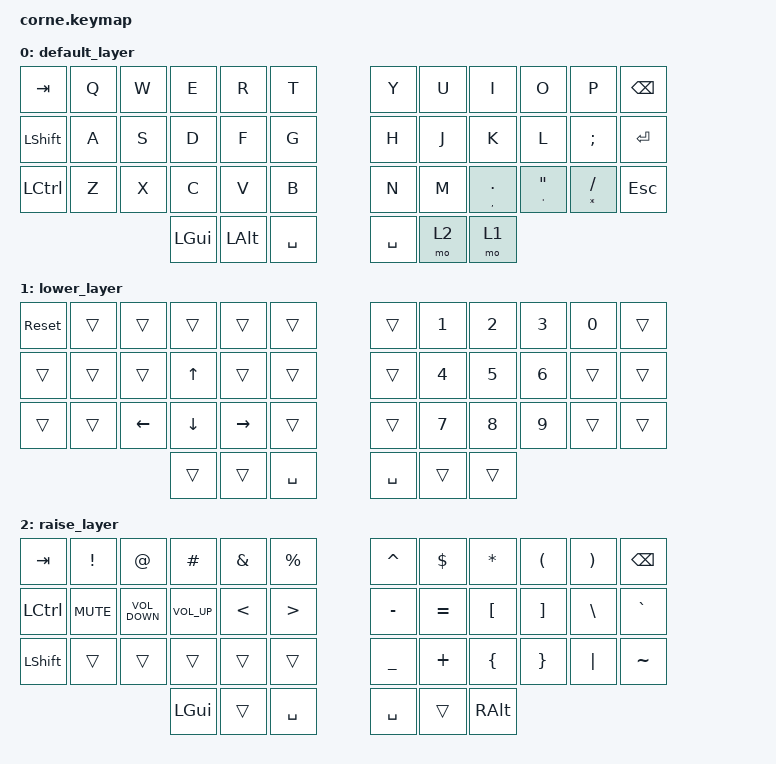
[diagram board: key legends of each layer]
/*
 * Copyright (c) 2020 The ZMK Contributors
 *
 * SPDX-License-Identifier: MIT
 */

#include <behaviors.dtsi>
#include <dt-bindings/zmk/keys.h>



/ {
    keymap {
        compatible = "zmk,keymap";

        default_layer {
            // -----------------------------------------------------------------------------------------
            // |  TAB |  1  |  W  |  E  |  R  |  T  |   |  Y  |  U   |  I  |  O  |  P  | BSPC |
            // | SHFT |  A  |  S  |  D  |  F  |  G  |   |  H  |  J   |  K  |  L  |  ;  | ENTR |
            // | CTRL |  Z  |  X  |  C  |  V  |  B  |   |  N  |  M   | ./, | '/" |  /* | EQU |
            //                    | GUI | LWR | SPC |   | SPC | L2   | L1  |

            bindings = <
&kp TAB         &kp Q  &kp W  &kp E     &kp R         &kp T        &kp Y      &kp U  &kp I          &kp O                  &kp P          &kp BSPC
&kp LEFT_SHIFT  &kp A  &kp S  &kp D     &kp F         &kp G        &kp H      &kp J  &kp K          &kp L                  &kp SEMI       &kp ENTER
&kp LCTRL       &kp Z  &kp X  &kp C     &kp V         &kp B        &kp N      &kp M  &mt COMMA DOT  &mt SQT DOUBLE_QUOTES  &mt STAR FSLH  &kp ESC
                              &kp LGUI  &kp LEFT_ALT  &kp SPACE    &kp SPACE  &mo 2  &mo 1
            >;
        };

        lower_layer {
            // -----------------------------------------------------------------------------------------
            // | SYSR |     |     |     |     |     |   |     |  1  |  2  |  3  |  0  |      |
            // |      |     |     | UP  |     |     |   |     |  4  |  5  |  6  |     |      |
            // |      |     | LFT | DWN | RGT |     |   |     |  7  |  8  |  9  |     |      |
            //                    |     |     | SPC |   | SPC |     |     |

            bindings = <
&sys_reset  &trans  &trans    &trans    &trans     &trans       &trans   &kp NUMBER_1  &kp NUMBER_2  &kp NUMBER_3  &kp N0  &trans
&trans      &trans  &trans    &kp UP    &trans     &trans       &trans   &kp NUMBER_4  &kp NUMBER_5  &kp NUMBER_6  &trans  &trans
&trans      &trans  &kp LEFT  &kp DOWN  &kp RIGHT  &trans       &trans   &kp NUMBER_7  &kp NUMBER_8  &kp NUMBER_9  &trans  &trans
                              &trans    &trans     &kp SPACE    &kp SPACE  &trans        &trans
            >;
        };

        raise_layer {
            // -----------------------------------------------------------------------------------------
            // |  TAB |  !  |  @  |  #  |  &  |  %  |   |  ^  |  $  |  *  |  (  |  )  | BSPC |
            // | CTRL |MUTE |V_UP |V_DWN|  <  |  >  |   |  -  |  =  |  [  |  ]  |  \  |  `   |
            // | SHFT |     |     |     |     |     |   |  _  |  +  |  {  |  }  | "|" |  ~   |
            //                    | GUI |     | SPC |   | SPC |     | ALT |

            bindings = <
&kp TAB    &kp EXCL     &kp AT              &kp HASH            &kp AMPERSAND  &kp PRCNT           &kp CARET  &kp DOLLAR  &kp ASTRK  &kp LPAR  &kp RPAR  &kp BSPC
&kp LCTRL  &kp C_MUTE   &kp C_VOLUME_DOWN   &kp C_VOLUME_UP     &kp LESS_THAN  &kp GREATER_THAN    &kp MINUS  &kp EQUAL   &kp LBKT   &kp RBKT  &kp BSLH  &kp GRAVE
&kp LSHFT  &trans       &trans              &trans              &trans         &trans              &kp UNDER  &kp PLUS    &kp LBRC   &kp RBRC  &kp PIPE  &kp TILDE
                                            &kp LGUI            &trans         &kp SPACE           &kp SPACE    &trans      &kp RALT
            >;
        };
    };
};


//For new Layers
    // -----------------------------------------------------------------------------------------
    // |      |     |     |     |     |     |   |     |     |     |     |     |      |
    // |      |     |     |     |     |     |   |     |     |     |     |     |      |
    // |      |     |     |     |     |     |   |     |     |     |     |     |      |
    //                    |     |     |     |   |     |     |     |
